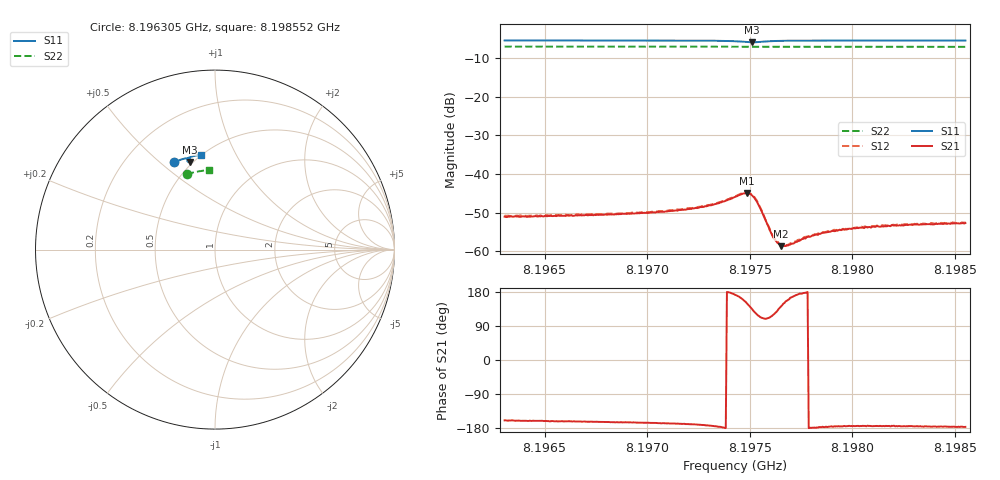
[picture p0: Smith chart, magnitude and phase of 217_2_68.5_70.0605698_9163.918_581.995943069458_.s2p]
#  HZ  S  RI  R  50.00
! Rohde & Schwarz Vector Network Analyzer
! Rohde-Schwarz,ZNB20-2Port,1311601062101988,3.16
! Created: UTC 3/20/2024, 5:13:24 PM
! freq[Hz]  re:S11  im:S11  re:S21  im:S21  re:S12  im:S12  re:S22  im:S22
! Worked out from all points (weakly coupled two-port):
!   401 points, 8.196305 GHz to 8.198552 GHz, reference 50 ohm
!   highest |S21| = -44.94 dB at 8.197485 GHz (marker M1); lowest = -58.7 dB at 8.197653 GHz (marker M2)
!   lowest |S11| = -5.9 dB at 8.197513 GHz (marker M3), VSWR 3.06, Z = 24.1 + j31.7 ohm
!   |S11| at or under -10 dB: nowhere
!   |S22| runs from -7.1 to -7.0 dB; largest |S21 - S12| = 0.0003
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8.1963049e9  -0.2281 0.4858  -0.00262 -0.000985  -0.00274 -0.000895  -0.156 0.4194
8.1966813e9  -0.2028 0.4963  -0.00277 -0.000853  -0.00289 -0.000782  -0.1358 0.4257
8.1970577e9  -0.1761 0.5057  -0.00312 -0.000749  -0.00326 -0.000618  -0.1154 0.4311
8.1972711e9  -0.1582 0.5097  -0.0037 -0.00055  -0.00379 -0.000422  -0.1034 0.4336
8.1973498e9  -0.1499 0.51  -0.00417 -0.000265  -0.0043 -0.00014  -0.0991 0.4346
8.1974284e9  -0.1393 0.5059  -0.00499 0.000687  -0.0051 0.000863  -0.0946 0.4353
8.1974621e9  -0.1357 0.4999  -0.00524 0.00174  -0.00523 0.00197  -0.0928 0.4353
8.1974846e9  -0.1357 0.4941  -0.00495 0.00276  -0.00493 0.003  -0.0914 0.4355
8.1975127e9  -0.1416 0.4878  -0.00364 0.00379  -0.00354 0.00403  -0.0901 0.4356
8.1975296e9  -0.1472 0.4875  -0.00252 0.00388  -0.00245 0.00404  -0.0895 0.4358
8.1975464e9  -0.1518 0.49  -0.00165 0.00347  -0.00153 0.00362  -0.0885 0.436
8.1976138e9  -0.1535 0.5044  -0.000734 0.00133  -0.000688 0.00141  -0.085 0.4369
8.1976307e9  -0.1519 0.5066  -0.000803 0.00106  -0.00077 0.00109  -0.084 0.4372
8.1976532e9  -0.1497 0.509  -0.000903 0.000729  -0.000898 0.000769  -0.0827 0.4373
8.1976644e9  -0.1485 0.51  -0.00101 0.000612  -0.000987 0.000669  -0.082 0.4375
8.1976869e9  -0.1463 0.5118  -0.0011 0.000432  -0.0011 0.000506  -0.0808 0.4377
8.1977599e9  -0.1393 0.5153  -0.00144 8.81e-05  -0.00147 0.000143  -0.0768 0.4384
8.1978048e9  -0.1354 0.5168  -0.00159 -3.27e-05  -0.00163 3.7e-05  -0.0741 0.4387
8.1979453e9  -0.1241 0.5203  -0.00186 -0.00016  -0.00192 -0.000106  -0.0662 0.4398
8.198052e9  -0.1159 0.5221  -0.00201 -0.000223  -0.00205 -0.000117  -0.0603 0.4405
8.1981812e9  -0.1064 0.5242  -0.00211 -0.000222  -0.00218 -0.000118  -0.053 0.4411
8.198552e9  -0.0795 0.5286  -0.00231 -0.000142  -0.00234 -2.5e-05  -0.0319 0.4426
